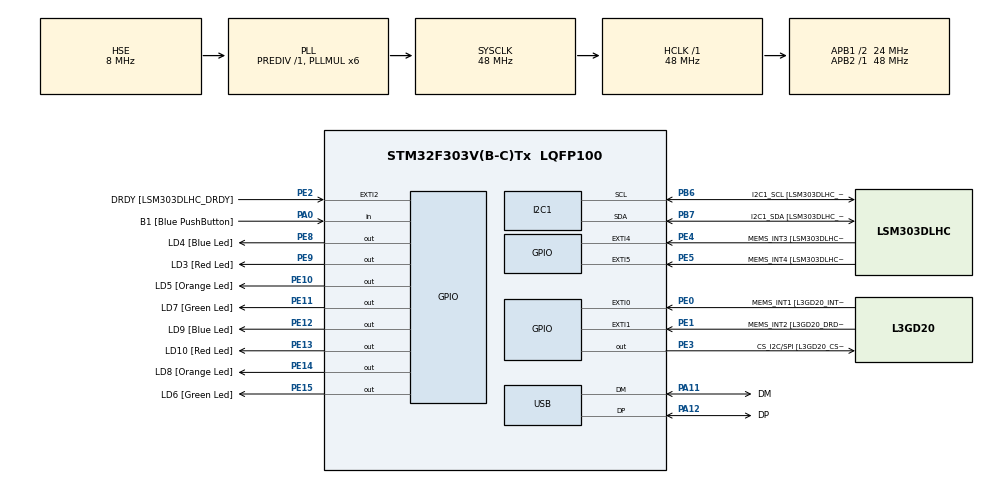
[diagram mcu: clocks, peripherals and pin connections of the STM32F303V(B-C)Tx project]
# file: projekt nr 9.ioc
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I2C1.Timing=0x00201D2B
I2C1.Timing-I2C=0x2000090E
Mcu.Family=STM32F3
Mcu.Name=STM32F303V(B-C)Tx
Mcu.Package=LQFP100
NVIC.PriorityGroup=NVIC_PRIORITYGROUP_0
NVIC.TIM2_IRQn=true\:0\:0\:false\:false\:true\:true\:true\:true
NVIC.TIM3_IRQn=true\:0\:0\:false\:false\:true\:true\:true\:true
PA0.GPIO_Label=B1 [Blue PushButton]
PA0.Signal=GPIO_Input
PA11.GPIO_Label=DM
PA11.Mode=Device
PA11.Signal=USB_DM
PA12.GPIO_Label=DP
PA12.Mode=Device
PA12.Signal=USB_DP
PA13.GPIO_Label=SWDIO
PA13.Mode=Serial_Wire
PA13.Signal=SYS_JTMS-SWDIO
PA14.GPIO_Label=SWCLK
PA14.Mode=Serial_Wire
PA14.Signal=SYS_JTCK-SWCLK
PA5.GPIO_Label=SPI1_SCK [L3GD20_SCL/SPC]
PA5.Signal=SPI1_SCK
PA6.GPIO_Label=SPI1_MISO [L3GD20_SA0/SDO]
PA6.Signal=SPI1_MISO
PA7.GPIO_Label=SPI1_MISO [L3GD20_SDA/SDI/SDO]
PA7.Signal=SPI1_MOSI
PB3.GPIO_Label=SWO
PB3.Signal=SYS_JTDO-TRACESWO
PB6.GPIO_Label=I2C1_SCL [LSM303DLHC_SCL]
PB6.GPIO_Pu=GPIO_PULLUP
PB6.Mode=I2C
PB6.Signal=I2C1_SCL
PB7.GPIO_Label=I2C1_SDA [LSM303DLHC_SDA]
PB7.GPIO_Pu=GPIO_PULLUP
PB7.Mode=I2C
PB7.Signal=I2C1_SDA
PC14-OSC32_IN.GPIO_Label=OSC32_IN
PC14-OSC32_IN.Signal=RCC_OSC32_IN
PC15-OSC32_OUT.GPIO_Label=OSC32_OUT
PC15-OSC32_OUT.Signal=RCC_OSC32_OUT
PE0.GPIO_Label=MEMS_INT1 [L3GD20_INT1]
PE0.GPIO_ModeDefaultEXTI=GPIO_MODE_EVT_RISING
PE0.Signal=GPXTI0
PE1.GPIO_Label=MEMS_INT2 [L3GD20_DRDY/INT2]
PE1.GPIO_ModeDefaultEXTI=GPIO_MODE_EVT_RISING
PE1.Signal=GPXTI1
PE10.GPIO_Label=LD5 [Orange Led]
PE10.Signal=GPIO_Output
PE11.GPIO_Label=LD7 [Green Led]
PE11.Signal=GPIO_Output
PE12.GPIO_Label=LD9 [Blue Led]
PE12.Signal=GPIO_Output
PE13.GPIO_Label=LD10 [Red Led]
PE13.Signal=GPIO_Output
PE14.GPIO_Label=LD8 [Orange Led]
PE14.Signal=GPIO_Output
PE15.GPIO_Label=LD6 [Green Led]
PE15.Signal=GPIO_Output
PE2.GPIO_Label=DRDY [LSM303DLHC_DRDY]
PE2.GPIO_ModeDefaultEXTI=GPIO_MODE_EVT_RISING
PE2.Signal=GPXTI2
PE3.GPIO_Label=CS_I2C/SPI [L3GD20_CS_I2C/SPI]
PE3.Signal=GPIO_Output
PE4.GPIO_Label=MEMS_INT3 [LSM303DLHC_INT1]
PE4.GPIO_ModeDefaultEXTI=GPIO_MODE_EVT_RISING
PE4.Signal=GPXTI4
PE5.GPIO_Label=MEMS_INT4 [LSM303DLHC_INT2]
PE5.GPIO_ModeDefaultEXTI=GPIO_MODE_EVT_RISING
PE5.Signal=GPXTI5
PE8.GPIO_Label=LD4 [Blue Led]
PE8.Signal=GPIO_Output
PE9.GPIO_Label=LD3 [Red Led]
PE9.Signal=GPIO_Output
PF0-OSC_IN.GPIO_Label=OSC_IN
PF0-OSC_IN.Mode=HSE-External-Clock-Source
PF0-OSC_IN.Signal=RCC_OSC_IN
PF1-OSC_OUT.GPIO_Label=OSC_OUT
PF1-OSC_OUT.Signal=RCC_OSC_OUT
ProjectManager.HeapSize=0x200
ProjectManager.StackSize=0x400
ProjectManager.TargetToolchain=STM32CubeIDE
RCC.AHBFreq_Value=48000000
RCC.APB1CLKDivider=RCC_HCLK_DIV2
RCC.APB1Freq_Value=24000000
RCC.APB1TimFreq_Value=48000000
RCC.APB2Freq_Value=48000000
RCC.APB2TimFreq_Value=48000000
RCC.CortexFreq_Value=48000000
RCC.HCLKFreq_Value=48000000
RCC.HSE_VALUE=8000000
RCC.HSI_VALUE=8000000
RCC.LSE_VALUE=32768
RCC.PLLMUL=RCC_PLL_MUL6
RCC.SYSCLKFreq_VALUE=48000000
RCC.SYSCLKSourceVirtual=RCC_SYSCLKSOURCE_PLLCLK
RCC.USBFreq_Value=48000000
TIM2.Period=10-1
TIM2.Prescaler=7200-1
TIM3.Period=100-1
TIM3.Prescaler=7200-1
VP_TIM2_VS_ClockSourceINT.Mode=Internal
VP_TIM3_VS_ClockSourceINT.Mode=Internal
board=STM32F3DISCOVERY

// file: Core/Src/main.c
/* USER CODE BEGIN Header */
/**
  ******************************************************************************
  * @file           : main.c
  * @brief          : Main program body
  ******************************************************************************
  * @attention
  *
  * Copyright (c) 2026 STMicroelectronics.
  * All rights reserved.
  *
  * This software is licensed under terms that can be found in the LICENSE file
  * in the root directory of this software component.
  * If no LICENSE file comes with this software, it is provided AS-IS.
  *
  ******************************************************************************
  */
/* USER CODE END Header */
#include "main.h"
#define ACC_ADDR (0x19 << 1)
#define MAG_ADDR (0x1E << 1)
volatile uint8_t counter = 0;

I2C_HandleTypeDef hi2c1;

TIM_HandleTypeDef htim2;
TIM_HandleTypeDef htim3;

PCD_HandleTypeDef hpcd_USB_FS;

void SystemClock_Config(void);
static void MX_GPIO_Init(void);
static void MX_I2C1_Init(void);
static void MX_TIM2_Init(void);
static void MX_TIM3_Init(void);
static void MX_USB_PCD_Init(void);

/* USER CODE BEGIN 0 */
void ACC_Init(void)
{
    uint8_t data;

    // 🔹 CTRL_REG1 (0x20)
    // 0x57 = 100 Hz, wszystkie osie włączone
    data = 0x57;
    HAL_I2C_Mem_Write(&hi2c1, ACC_ADDR, 0x20, 1, &data, 1, HAL_MAX_DELAY);

    // 🔹 CTRL_REG4 (0x23)
    // 0x08 = High Resolution, ±2g
    data = 0x08;
    HAL_I2C_Mem_Write(&hi2c1, ACC_ADDR, 0x23, 1, &data, 1, HAL_MAX_DELAY);
}
/* USER CODE END 0 */

volatile int16_t ay = 0;
void mode1(void)
{
	uint8_t data[6];
				 HAL_I2C_Mem_Read(&hi2c1, ACC_ADDR, 0X28 | 0X80, 1, data, 6, HAL_MAX_DELAY);
	int16_t ax = data[0] | (data[1] << 8);
	 ay = data[2] | (data[3] << 8);

}
int main(void)
{

  /* MCU Configuration--------------------------------------------------------*/

  /* Reset of all peripherals, Initializes the Flash interface and the Systick. */
  HAL_Init();

  /* Configure the system clock */
  SystemClock_Config();

  /* Initialize all configured peripherals */
  MX_GPIO_Init();
  MX_I2C1_Init();
  ACC_Init();
  MX_TIM2_Init();
  MX_TIM3_Init();
  MX_USB_PCD_Init();
  /* USER CODE BEGIN 2 */
  HAL_TIM_Base_Start_IT(&htim2);
  HAL_TIM_Base_Start_IT(&htim3);
  /* USER CODE END 2 */

  /* Infinite loop */
  while (1)
  {

  }
}

void SystemClock_Config(void)
{
  RCC_OscInitTypeDef RCC_OscInitStruct = {0};
  RCC_ClkInitTypeDef RCC_ClkInitStruct = {0};
  RCC_PeriphCLKInitTypeDef PeriphClkInit = {0};

  /** Initializes the RCC Oscillators according to the specified parameters
  * in the RCC_OscInitTypeDef structure.
  */
  RCC_OscInitStruct.OscillatorType = RCC_OSCILLATORTYPE_HSI|RCC_OSCILLATORTYPE_HSE;
  RCC_OscInitStruct.HSEState = RCC_HSE_BYPASS;
  RCC_OscInitStruct.HSEPredivValue = RCC_HSE_PREDIV_DIV1;
  RCC_OscInitStruct.HSIState = RCC_HSI_ON;
  RCC_OscInitStruct.HSICalibrationValue = RCC_HSICALIBRATION_DEFAULT;
  RCC_OscInitStruct.PLL.PLLState = RCC_PLL_ON;
  RCC_OscInitStruct.PLL.PLLSource = RCC_PLLSOURCE_HSE;
  RCC_OscInitStruct.PLL.PLLMUL = RCC_PLL_MUL6;
  if (HAL_RCC_OscConfig(&RCC_OscInitStruct) != HAL_OK)
  {
    Error_Handler();
  }

  /** Initializes the CPU, AHB and APB buses clocks
  */
  RCC_ClkInitStruct.ClockType = RCC_CLOCKTYPE_HCLK|RCC_CLOCKTYPE_SYSCLK
                              |RCC_CLOCKTYPE_PCLK1|RCC_CLOCKTYPE_PCLK2;
  RCC_ClkInitStruct.SYSCLKSource = RCC_SYSCLKSOURCE_PLLCLK;
  RCC_ClkInitStruct.AHBCLKDivider = RCC_SYSCLK_DIV1;
  RCC_ClkInitStruct.APB1CLKDivider = RCC_HCLK_DIV2;
  RCC_ClkInitStruct.APB2CLKDivider = RCC_HCLK_DIV1;

  if (HAL_RCC_ClockConfig(&RCC_ClkInitStruct, FLASH_LATENCY_1) != HAL_OK)
  {
    Error_Handler();
  }
  PeriphClkInit.PeriphClockSelection = RCC_PERIPHCLK_USB|RCC_PERIPHCLK_I2C1;
  PeriphClkInit.I2c1ClockSelection = RCC_I2C1CLKSOURCE_HSI;
  PeriphClkInit.USBClockSelection = RCC_USBCLKSOURCE_PLL;
  if (HAL_RCCEx_PeriphCLKConfig(&PeriphClkInit) != HAL_OK)
  {
    Error_Handler();
  }
}

static void MX_I2C1_Init(void)
{

  hi2c1.Instance = I2C1;
  hi2c1.Init.Timing = 0x00201D2B;
  hi2c1.Init.OwnAddress1 = 0;
  hi2c1.Init.AddressingMode = I2C_ADDRESSINGMODE_7BIT;
  hi2c1.Init.DualAddressMode = I2C_DUALADDRESS_DISABLE;
  hi2c1.Init.OwnAddress2 = 0;
  hi2c1.Init.OwnAddress2Masks = I2C_OA2_NOMASK;
  hi2c1.Init.GeneralCallMode = I2C_GENERALCALL_DISABLE;
  hi2c1.Init.NoStretchMode = I2C_NOSTRETCH_DISABLE;
  if (HAL_I2C_Init(&hi2c1) != HAL_OK)
  {
    Error_Handler();
  }

  /** Configure Analogue filter
  */
  if (HAL_I2CEx_ConfigAnalogFilter(&hi2c1, I2C_ANALOGFILTER_ENABLE) != HAL_OK)
  {
    Error_Handler();
  }

  /** Configure Digital filter
  */
  if (HAL_I2CEx_ConfigDigitalFilter(&hi2c1, 0) != HAL_OK)
  {
    Error_Handler();
  }

}

static void MX_TIM2_Init(void)
{

  TIM_ClockConfigTypeDef sClockSourceConfig = {0};
  TIM_MasterConfigTypeDef sMasterConfig = {0};

  htim2.Instance = TIM2;
  htim2.Init.Prescaler = 7200-1;
  htim2.Init.CounterMode = TIM_COUNTERMODE_UP;
  htim2.Init.Period = 10-1;
  htim2.Init.ClockDivision = TIM_CLOCKDIVISION_DIV1;
  htim2.Init.AutoReloadPreload = TIM_AUTORELOAD_PRELOAD_DISABLE;
  if (HAL_TIM_Base_Init(&htim2) != HAL_OK)
  {
    Error_Handler();
  }
  sClockSourceConfig.ClockSource = TIM_CLOCKSOURCE_INTERNAL;
  if (HAL_TIM_ConfigClockSource(&htim2, &sClockSourceConfig) != HAL_OK)
  {
    Error_Handler();
  }
  sMasterConfig.MasterOutputTrigger = TIM_TRGO_RESET;
  sMasterConfig.MasterSlaveMode = TIM_MASTERSLAVEMODE_DISABLE;
  if (HAL_TIMEx_MasterConfigSynchronization(&htim2, &sMasterConfig) != HAL_OK)
  {
    Error_Handler();
  }

}

static void MX_TIM3_Init(void)
{

  TIM_ClockConfigTypeDef sClockSourceConfig = {0};
  TIM_MasterConfigTypeDef sMasterConfig = {0};

  htim3.Instance = TIM3;
  htim3.Init.Prescaler = 7200-1;
  htim3.Init.CounterMode = TIM_COUNTERMODE_UP;
  htim3.Init.Period = 100-1;
  htim3.Init.ClockDivision = TIM_CLOCKDIVISION_DIV1;
  htim3.Init.AutoReloadPreload = TIM_AUTORELOAD_PRELOAD_DISABLE;
  if (HAL_TIM_Base_Init(&htim3) != HAL_OK)
  {
    Error_Handler();
  }
  sClockSourceConfig.ClockSource = TIM_CLOCKSOURCE_INTERNAL;
  if (HAL_TIM_ConfigClockSource(&htim3, &sClockSourceConfig) != HAL_OK)
  {
    Error_Handler();
  }
  sMasterConfig.MasterOutputTrigger = TIM_TRGO_RESET;
  sMasterConfig.MasterSlaveMode = TIM_MASTERSLAVEMODE_DISABLE;
  if (HAL_TIMEx_MasterConfigSynchronization(&htim3, &sMasterConfig) != HAL_OK)
  {
    Error_Handler();
  }

}

static void MX_USB_PCD_Init(void)
{

  hpcd_USB_FS.Instance = USB;
  hpcd_USB_FS.Init.dev_endpoints = 8;
  hpcd_USB_FS.Init.speed = PCD_SPEED_FULL;
  hpcd_USB_FS.Init.phy_itface = PCD_PHY_EMBEDDED;
  hpcd_USB_FS.Init.low_power_enable = DISABLE;
  hpcd_USB_FS.Init.battery_charging_enable = DISABLE;
  if (HAL_PCD_Init(&hpcd_USB_FS) != HAL_OK)
  {
    Error_Handler();
  }

}

static void MX_GPIO_Init(void)
{
  GPIO_InitTypeDef GPIO_InitStruct = {0};

  /* GPIO Ports Clock Enable */
  __HAL_RCC_GPIOE_CLK_ENABLE();
  __HAL_RCC_GPIOC_CLK_ENABLE();
  __HAL_RCC_GPIOF_CLK_ENABLE();
  __HAL_RCC_GPIOA_CLK_ENABLE();
  __HAL_RCC_GPIOB_CLK_ENABLE();

  /*Configure GPIO pin Output Level */
  HAL_GPIO_WritePin(GPIOE, CS_I2C_SPI_Pin|LD4_Pin|LD3_Pin|LD5_Pin
                          |LD7_Pin|LD9_Pin|LD10_Pin|LD8_Pin
                          |LD6_Pin, GPIO_PIN_RESET);

  /*Configure GPIO pins : DRDY_Pin MEMS_INT3_Pin MEMS_INT4_Pin MEMS_INT1_Pin
                           MEMS_INT2_Pin */
  GPIO_InitStruct.Pin = DRDY_Pin|MEMS_INT3_Pin|MEMS_INT4_Pin|MEMS_INT1_Pin
                          |MEMS_INT2_Pin;
  GPIO_InitStruct.Mode = GPIO_MODE_EVT_RISING;
  GPIO_InitStruct.Pull = GPIO_NOPULL;
  HAL_GPIO_Init(GPIOE, &GPIO_InitStruct);

  /*Configure GPIO pins : CS_I2C_SPI_Pin LD4_Pin LD3_Pin LD5_Pin
                           LD7_Pin LD9_Pin LD10_Pin LD8_Pin
                           LD6_Pin */
  GPIO_InitStruct.Pin = CS_I2C_SPI_Pin|LD4_Pin|LD3_Pin|LD5_Pin
                          |LD7_Pin|LD9_Pin|LD10_Pin|LD8_Pin
                          |LD6_Pin;
  GPIO_InitStruct.Mode = GPIO_MODE_OUTPUT_PP;
  GPIO_InitStruct.Pull = GPIO_NOPULL;
  GPIO_InitStruct.Speed = GPIO_SPEED_FREQ_LOW;
  HAL_GPIO_Init(GPIOE, &GPIO_InitStruct);

  /*Configure GPIO pin : B1_Pin */
  GPIO_InitStruct.Pin = B1_Pin;
  GPIO_InitStruct.Mode = GPIO_MODE_INPUT;
  GPIO_InitStruct.Pull = GPIO_NOPULL;
  HAL_GPIO_Init(B1_GPIO_Port, &GPIO_InitStruct);

  /*Configure GPIO pins : SPI1_SCK_Pin SPI1_MISO_Pin SPI1_MISOA7_Pin */
  GPIO_InitStruct.Pin = SPI1_SCK_Pin|SPI1_MISO_Pin|SPI1_MISOA7_Pin;
  GPIO_InitStruct.Mode = GPIO_MODE_AF_PP;
  GPIO_InitStruct.Pull = GPIO_NOPULL;
  GPIO_InitStruct.Speed = GPIO_SPEED_FREQ_HIGH;
  GPIO_InitStruct.Alternate = GPIO_AF5_SPI1;
  HAL_GPIO_Init(GPIOA, &GPIO_InitStruct);

}

/* USER CODE BEGIN 4 */
volatile uint8_t threshold;
volatile uint8_t last = 0;
volatile uint8_t time = 0;
void HAL_TIM_PeriodElapsedCallback(TIM_HandleTypeDef *htim)
{
	if(htim->Instance == TIM2)
	{
		HAL_GPIO_WritePin(GPIOE, GPIO_PIN_11, GPIO_PIN_SET);
		uint8_t current = HAL_GPIO_ReadPin(GPIOA, GPIO_PIN_0);
		if (current == 1 && last == 0)
		{
			counter++;
		}
		last = current;
	}
	if(htim->Instance == TIM3)
	{
		if (counter == 1)
		{
			mode1();
			if(ay >= 0)
			{
				HAL_GPIO_WritePin(GPIOE, GPIO_PIN_10, GPIO_PIN_RESET);
				HAL_GPIO_WritePin(GPIOE, GPIO_PIN_9, GPIO_PIN_RESET);
				if (ay <= 5500)
							{
								HAL_GPIO_WritePin(GPIOE, GPIO_PIN_14, GPIO_PIN_RESET);
								HAL_GPIO_WritePin(GPIOE, GPIO_PIN_15, GPIO_PIN_SET);
								threshold = 30;
							}
							else if (ay <= 10000)
							{
								HAL_GPIO_WritePin(GPIOE, GPIO_PIN_15, GPIO_PIN_RESET);
								HAL_GPIO_WritePin(GPIOE, GPIO_PIN_14, GPIO_PIN_SET);
								threshold = 10;
							}
							else if (ay > 10000)
							{
								HAL_GPIO_WritePin(GPIOE, GPIO_PIN_14, GPIO_PIN_RESET);
								threshold = 5;
							}
				time ++;
				if(time > threshold)
				{
					HAL_GPIO_TogglePin(GPIOE, GPIO_PIN_8);
							time = 0;

			}
			}
			else
			{
				HAL_GPIO_WritePin(GPIOE, GPIO_PIN_8, GPIO_PIN_RESET);
			   if (ay >= -7500 && ay < -2500)
				{
					HAL_GPIO_WritePin(GPIOE, GPIO_PIN_9, GPIO_PIN_RESET);
					HAL_GPIO_WritePin(GPIOE, GPIO_PIN_13, GPIO_PIN_SET);
					threshold = 10;
				}
				else if (ay < -7500)
				{
					HAL_GPIO_WritePin(GPIOE, GPIO_PIN_13, GPIO_PIN_RESET);
					threshold = 5;
				}
				else
				{
						HAL_GPIO_WritePin(GPIOE, GPIO_PIN_13, GPIO_PIN_RESET);
						HAL_GPIO_WritePin(GPIOE, GPIO_PIN_9, GPIO_PIN_SET);
						threshold = 30;
				}
				time ++;
				if(time > threshold)
				{
					HAL_GPIO_TogglePin(GPIOE, GPIO_PIN_10);
							time = 0;

			}

			}

	}
}

}
/* USER CODE END 4 */

void Error_Handler(void)
{
  __disable_irq();
  while (1)
  {
  }
}
